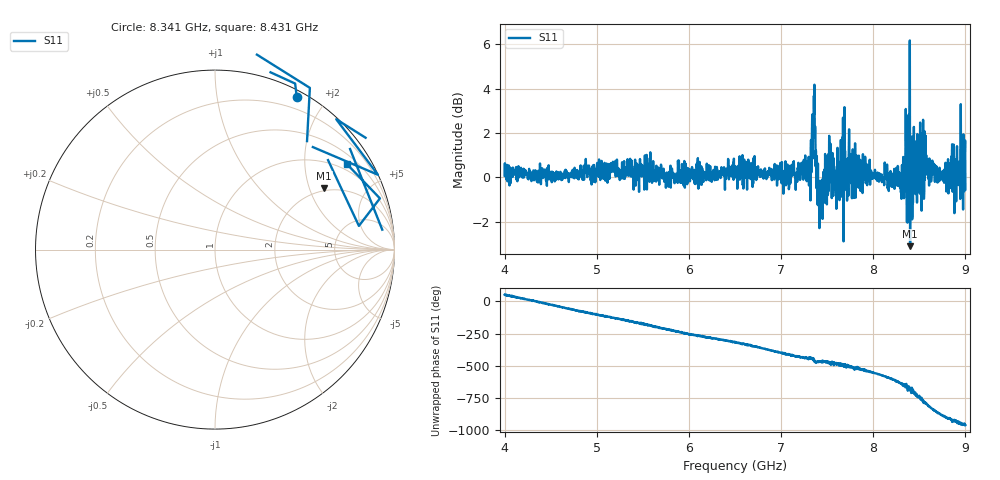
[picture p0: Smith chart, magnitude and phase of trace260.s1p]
! Created with skrf 1.8.0 (http://scikit-rf.org).
# Hz S RI R 50.0
!freq ReS11 ImS11
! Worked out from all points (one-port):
!   1601 points, 4 GHz to 9 GHz, reference 50 ohm
!   lowest |S11| = -3.1 dB at 8.4 GHz (marker M1), VSWR 5.64, Z = 94.1 + j127 ohm
!   |S11| at or under -10 dB: nowhere
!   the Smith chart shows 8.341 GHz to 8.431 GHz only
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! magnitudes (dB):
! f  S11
! 4 GHz  0.1
! 4.625 GHz  -0.1
! 5.25 GHz  -0.1
! 5.875 GHz  -0.1
! 6.5 GHz  0.3
! 7.125 GHz  0.6
! 7.294 GHz  0.2
! 7.347 GHz  2.3
! 7.375 GHz  0.5
! 7.4 GHz  0.6
! 7.428 GHz  -0.2
! 7.478 GHz  1.0
! 7.538 GHz  1.5
! 7.591 GHz  -0.1
! 7.669 GHz  1.0
! 7.703 GHz  -0.1
! 7.75 GHz  0.2
! 8.316 GHz  0.1
! 8.334 GHz  -0.9
! 8.375 GHz  0.0
! 8.4 GHz  -3.1
! 8.447 GHz  1.5
! 8.459 GHz  -0.8
! 8.522 GHz  2.0
! 8.622 GHz  0.2
! 8.819 GHz  0.2
! 8.972 GHz  0.5
! 9 GHz  -0.5
